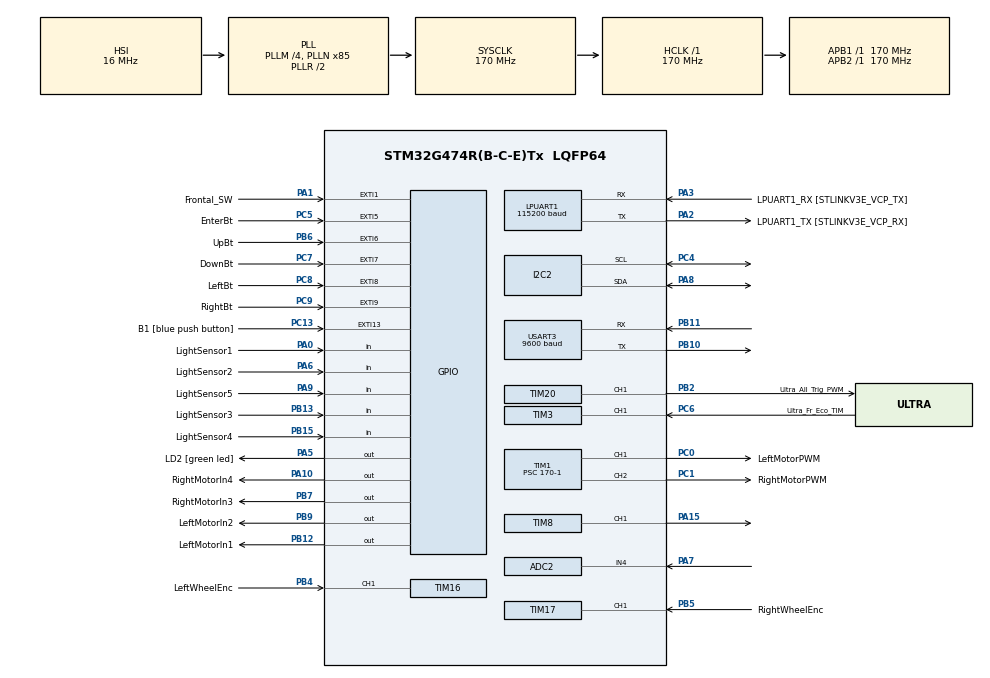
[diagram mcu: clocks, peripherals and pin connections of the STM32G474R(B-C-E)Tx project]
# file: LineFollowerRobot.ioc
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ADC2.Channel-1\#ChannelRegularConversion=ADC_CHANNEL_4
ADC2.ClockPrescaler=ADC_CLOCK_ASYNC_DIV64
ADC2.ContinuousConvMode=ENABLE
ADC2.DMAContinuousRequests=ENABLE
ADC2.LowPowerAutoWait=DISABLE
ADC2.NbrOfConversionFlag=1
ADC2.OffsetNumber-1\#ChannelRegularConversion=ADC_OFFSET_NONE
ADC2.Rank-1\#ChannelRegularConversion=1
ADC2.SamplingTime-1\#ChannelRegularConversion=ADC_SAMPLETIME_2CYCLES_5
Dma.ADC2.0.Direction=DMA_PERIPH_TO_MEMORY
Dma.ADC2.0.EventEnable=DISABLE
Dma.ADC2.0.Instance=DMA1_Channel1
Dma.ADC2.0.MemDataAlignment=DMA_MDATAALIGN_HALFWORD
Dma.ADC2.0.MemInc=DMA_MINC_ENABLE
Dma.ADC2.0.Mode=DMA_CIRCULAR
Dma.ADC2.0.PeriphDataAlignment=DMA_PDATAALIGN_HALFWORD
Dma.ADC2.0.PeriphInc=DMA_PINC_DISABLE
Dma.ADC2.0.Polarity=HAL_DMAMUX_REQ_GEN_RISING
Dma.ADC2.0.Priority=DMA_PRIORITY_LOW
Dma.ADC2.0.RequestNumber=1
Dma.ADC2.0.SignalID=NONE
Dma.ADC2.0.SyncEnable=DISABLE
Dma.ADC2.0.SyncPolarity=HAL_DMAMUX_SYNC_NO_EVENT
Dma.ADC2.0.SyncRequestNumber=1
Dma.ADC2.0.SyncSignalID=NONE
Dma.Request0=ADC2
I2C2.Timing=0x30A0A7FB
LPUART1.BaudRate=115200
LPUART1.WordLength=UART_WORDLENGTH_8B
Mcu.Family=STM32G4
Mcu.Name=STM32G474R(B-C-E)Tx
Mcu.Package=LQFP64
NVIC.ADC1_2_IRQn=true\:0\:0\:false\:false\:true\:true\:true\:true
NVIC.DMA1_Channel1_IRQn=true\:0\:0\:false\:false\:true\:false\:true\:true
NVIC.EXTI15_10_IRQn=true\:0\:0\:false\:false\:true\:true\:true\:true
NVIC.EXTI9_5_IRQn=true\:0\:0\:false\:false\:true\:true\:true\:true
NVIC.I2C2_ER_IRQn=true\:0\:0\:false\:false\:true\:true\:true\:true
NVIC.I2C2_EV_IRQn=true\:0\:0\:false\:false\:true\:true\:true\:true
NVIC.PriorityGroup=NVIC_PRIORITYGROUP_4
NVIC.TIM1_TRG_COM_TIM17_IRQn=true\:0\:0\:false\:false\:true\:true\:true\:true
NVIC.TIM1_UP_TIM16_IRQn=true\:0\:0\:false\:false\:true\:true\:true\:true
NVIC.TIM20_TRG_COM_IRQn=true\:0\:0\:false\:false\:true\:true\:true\:true
NVIC.TIM3_IRQn=true\:0\:0\:false\:false\:true\:true\:true\:true
NVIC.TIM6_DAC_IRQn=true\:0\:0\:false\:false\:true\:true\:true\:true
NVIC.TIM7_DAC_IRQn=true\:0\:0\:false\:false\:true\:true\:true\:true
NVIC.USART3_IRQn=true\:0\:0\:false\:false\:true\:true\:true\:true
PA0.GPIO_Label=LightSensor1
PA0.Signal=GPIO_Input
PA1.GPIO_Label=Frontal_SW
PA1.Signal=GPXTI1
PA10.GPIO_Label=RightMotorIn4
PA10.Signal=GPIO_Output
PA13.GPIO_Label=T_SWDIO
PA13.Mode=Serial_Wire
PA13.Signal=SYS_JTMS-SWDIO
PA14.GPIO_Label=T_SWCLK
PA14.Mode=Serial_Wire
PA14.Signal=SYS_JTCK-SWCLK
PA15.Signal=S_TIM8_CH1
PA2.GPIO_Label=LPUART1_TX [STLINKV3E_VCP_RX]
PA2.Mode=Asynchronous
PA2.Signal=LPUART1_TX
PA3.GPIO_Label=LPUART1_RX [STLINKV3E_VCP_TX]
PA3.Mode=Asynchronous
PA3.Signal=LPUART1_RX
PA5.GPIO_Label=LD2 [green led]
PA5.Signal=GPIO_Output
PA6.GPIO_Label=LightSensor2
PA6.Signal=GPIO_Input
PA7.Mode=IN4-Single-Ended
PA7.Signal=ADC2_IN4
PA8.Mode=I2C
PA8.Signal=I2C2_SDA
PA9.GPIO_Label=LightSensor5
PA9.Signal=GPIO_Input
PB10.Mode=Asynchronous
PB10.Signal=USART3_TX
PB11.Mode=Asynchronous
PB11.Signal=USART3_RX
PB12.GPIO_Label=LeftMotorIn1
PB12.Signal=GPIO_Output
PB13.GPIO_Label=LightSensor3
PB13.Signal=GPIO_Input
PB15.GPIO_Label=LightSensor4
PB15.Signal=GPIO_Input
PB2.GPIO_Label=Ultra_All_Trig_PWM
PB2.Mode=PWM Generation1 CH1
PB2.Signal=TIM20_CH1
PB3.GPIO_Label=T_SWO
PB3.Signal=SYS_JTDO-SWO
PB4.GPIO_Label=LeftWheelEnc
PB4.Signal=S_TIM16_CH1
PB5.GPIO_Label=RightWheelEnc
PB5.Signal=S_TIM17_CH1
PB6.GPIO_Label=UpBt
PB6.Signal=GPXTI6
PB7.GPIO_Label=RightMotorIn3
PB7.Signal=GPIO_Output
PB9.GPIO_Label=LeftMotorIn2
PB9.Signal=GPIO_Output
PC0.GPIO_Label=LeftMotorPWM
PC0.Signal=S_TIM1_CH1
PC1.GPIO_Label=RightMotorPWM
PC1.Signal=S_TIM1_CH2
PC13.GPIO_Label=B1 [blue push button]
PC13.Signal=GPXTI13
PC14-OSC32_IN.Mode=LSE-External-Oscillator
PC14-OSC32_IN.Signal=RCC_OSC32_IN
PC15-OSC32_OUT.Mode=LSE-External-Oscillator
PC15-OSC32_OUT.Signal=RCC_OSC32_OUT
PC4.Mode=I2C
PC4.Signal=I2C2_SCL
PC5.GPIO_Label=EnterBt
PC5.Signal=GPXTI5
PC6.GPIO_Label=Ultra_Fr_Eco_TIM
PC6.Signal=S_TIM3_CH1
PC7.GPIO_Label=DownBt
PC7.Signal=GPXTI7
PC8.GPIO_Label=LeftBt
PC8.Signal=GPXTI8
PC9.GPIO_Label=RightBt
PC9.Signal=GPXTI9
PF0-OSC_IN.Mode=HSE-External-Oscillator
PF0-OSC_IN.Signal=RCC_OSC_IN
PF1-OSC_OUT.Mode=HSE-External-Oscillator
PF1-OSC_OUT.Signal=RCC_OSC_OUT
ProjectManager.HeapSize=0x200
ProjectManager.StackSize=0x400
ProjectManager.TargetToolchain=STM32CubeIDE
RCC.ADC12Freq_Value=170000000
RCC.ADC345Freq_Value=170000000
RCC.AHBFreq_Value=170000000
RCC.APB1Freq_Value=170000000
RCC.APB1TimFreq_Value=170000000
RCC.APB2Freq_Value=170000000
RCC.APB2TimFreq_Value=170000000
RCC.CortexFreq_Value=170000000
RCC.EXTERNAL_CLOCK_VALUE=12288000
RCC.HCLKFreq_Value=170000000
RCC.HSE_VALUE=24000000
RCC.HSI48_VALUE=48000000
RCC.HSI_VALUE=16000000
RCC.PLLM=RCC_PLLM_DIV4
RCC.PLLN=85
RCC.RTCClockSelection=RCC_RTCCLKSOURCE_LSE
RCC.SYSCLKFreq_VALUE=170000000
RCC.SYSCLKSource=RCC_SYSCLKSOURCE_PLLCLK
RCC.USBFreq_Value=170000000
RCC.VCOOutputFreq_Value=340000000
SH.S_TIM16_CH1.0=TIM16_CH1,Input_Capture1_from_TI1
SH.S_TIM17_CH1.0=TIM17_CH1,Input_Capture1_from_TI1
SH.S_TIM1_CH1.0=TIM1_CH1,PWM Generation1 CH1
SH.S_TIM1_CH2.0=TIM1_CH2,PWM Generation2 CH2
SH.S_TIM3_CH1.0=TIM3_CH1,Input_Capture1_from_TI1
SH.S_TIM8_CH1.0=TIM8_CH1,PWM Generation1 CH1
TIM1.Channel-PWM\ Generation1\ CH1=TIM_CHANNEL_1
TIM1.Channel-PWM\ Generation2\ CH2=TIM_CHANNEL_2
TIM1.PeriodNoDither=100-1
TIM1.Prescaler=170-1
TIM16.Channel=TIM_CHANNEL_1
TIM16.Prescaler=170-1
TIM17.AutoReloadPreload=TIM_AUTORELOAD_PRELOAD_DISABLE
TIM17.Channel=TIM_CHANNEL_1
TIM17.ICPolarity_CH1=TIM_INPUTCHANNELPOLARITY_RISING
TIM17.Prescaler=170-1
TIM20.Channel-PWM\ Generation1\ CH1=TIM_CHANNEL_1
TIM20.Prescaler=1700-1
TIM3.Channel-Input_Capture1_from_TI1=TIM_CHANNEL_1
TIM3.ICPolarity_CH1=TIM_INPUTCHANNELPOLARITY_BOTHEDGE
TIM3.Prescaler=170-1
TIM6.PeriodNoDither=10000-1
TIM6.Prescaler=170-1
TIM7.PeriodNoDither=10000-1
TIM7.Prescaler=170-1
TIM8.Channel-PWM\ Generation1\ CH1=TIM_CHANNEL_1
TIM8.PeriodNoDither=10000-1
TIM8.Prescaler=170-1
USART3.BaudRate=9600
USART3.FIFOMode=FIFOMODE_ENABLE
USART3.VirtualMode-Asynchronous=VM_ASYNC
VP_SYS_VS_DBSignals.Mode=DisableDeadBatterySignals
VP_TIM16_VS_ClockSourceINT.Mode=Enable_Timer
VP_TIM17_VS_ClockSourceINT.Mode=Enable_Timer
VP_TIM20_VS_ClockSourceINT.Mode=Internal
VP_TIM3_VS_ClockSourceINT.Mode=Internal
VP_TIM6_VS_ClockSourceINT.Mode=Enable_Timer
VP_TIM7_VS_ClockSourceINT.Mode=Enable_Timer
board=NUCLEO-G474RE

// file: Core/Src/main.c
/* USER CODE BEGIN Header */
/**
  ******************************************************************************
  * @file           : main.c
  * @brief          : Main program body
  ******************************************************************************
  * @attention
  *
  * Copyright (c) 2023 STMicroelectronics.
  * All rights reserved.
  *
  * This software is licensed under terms that can be found in the LICENSE file
  * in the root directory of this software component.
  * If no LICENSE file comes with this software, it is provided AS-IS.
  *
  ******************************************************************************
  */
/* USER CODE END Header */
#include "main.h"
#include "adc.h"
#include "dma.h"
#include "i2c.h"
#include "usart.h"
#include "tim.h"
#include "gpio.h"

/* USER CODE BEGIN Includes */
#include "lcd.h"
#include "battery.h"

/* USER CODE END Includes */

/* USER CODE BEGIN PV */
extern encoderStruct xRightEncoder;
extern encoderStruct xLeftEncoder;
extern buttons xBt;
extern GPIO_PinState SW;
lineSensorsStateStruct xS = {0};
positionStruct xPosition = {0};
extern TIM_HandleTypeDef *pOdometryTIM;
extern TIM_HandleTypeDef *pLineFollowerTIM;
extern int iOdometryClockDivision;
extern TIM_HandleTypeDef *pUltraSonicTriggerCallback;
extern ultraSonicSensorStruct xUltraSonicSensor;
extern unsigned char ucData;
float fdummyData[3] = {0, 0, 0};
unsigned char ucLcdAddress = 0x27;
unsigned char ucLeftMotorState = 0;
unsigned char ucRightMotorState = 0;
float fVelSetPoint = 0.3;
char cUpdateScreen = 0;
float a = -1;
float b = -1;
int catchaD = 0;
int catchaE = 0;
uint16_t usBattery;
extern ADC_HandleTypeDef hadc2;
extern DMA_HandleTypeDef hdma_adc2;
//extern OPAMP_HandleTypeDef hopamp2;
float fVoltage = 0;

/* USER CODE END PV */

void SystemClock_Config(void);

int main(void)
{

  /* MCU Configuration--------------------------------------------------------*/

  /* Reset of all peripherals, Initializes the Flash interface and the Systick. */
  HAL_Init();

  /* Configure the system clock */
  SystemClock_Config();

  /* Initialize all configured peripherals */
  MX_GPIO_Init();
  MX_DMA_Init();
  MX_LPUART1_UART_Init();
  MX_TIM17_Init();
  MX_TIM16_Init();
  MX_TIM1_Init();
  MX_TIM7_Init();
  MX_I2C2_Init();
  MX_TIM6_Init();
  MX_USART3_UART_Init();
  MX_TIM3_Init();
  MX_TIM20_Init();
  MX_TIM8_Init();
  MX_ADC2_Init();
  /* USER CODE BEGIN 2 */
  vInitEncoders(&htim16,&htim17);
  vMotorsInit(&htim1);
  vLineFollowerInit(&htim7);
  vOdometryInit(&htim6, iOdometryClockDivision);
  HAL_UART_Receive_IT(&huart3, (uint8_t*)&ucData, 1);
  pid_init(0.05, 0, 0.001, 0, 1, 0.5);
  pid_init2(0.25, 0, 0, 0, 1, 1);
  vUltrasonicSensorInit(&htim3);
  vLcdInitLcd(&hi2c2,ucLcdAddress);
  vBuzzerConfig(1000, 100, &htim8);
  vBatteryInit(&hadc2);

  /* USER CODE END 2 */

  /* Infinite loop */
  while (1)
  {

    /* USER CODE BEGIN 3 */
	  if(cUpdateScreen){
		  vLcdUpdateScreen(0);
		  cUpdateScreen = 0;

	  }

	  fVoltage= fBatteryGetVoltage();

  }
  /* USER CODE END 3 */
}

void SystemClock_Config(void)
{
  RCC_OscInitTypeDef RCC_OscInitStruct = {0};
  RCC_ClkInitTypeDef RCC_ClkInitStruct = {0};

  /** Configure the main internal regulator output voltage
  */
  HAL_PWREx_ControlVoltageScaling(PWR_REGULATOR_VOLTAGE_SCALE1_BOOST);

  /** Initializes the RCC Oscillators according to the specified parameters
  * in the RCC_OscInitTypeDef structure.
  */
  RCC_OscInitStruct.OscillatorType = RCC_OSCILLATORTYPE_HSI;
  RCC_OscInitStruct.HSIState = RCC_HSI_ON;
  RCC_OscInitStruct.HSICalibrationValue = RCC_HSICALIBRATION_DEFAULT;
  RCC_OscInitStruct.PLL.PLLState = RCC_PLL_ON;
  RCC_OscInitStruct.PLL.PLLSource = RCC_PLLSOURCE_HSI;
  RCC_OscInitStruct.PLL.PLLM = RCC_PLLM_DIV4;
  RCC_OscInitStruct.PLL.PLLN = 85;
  RCC_OscInitStruct.PLL.PLLP = RCC_PLLP_DIV2;
  RCC_OscInitStruct.PLL.PLLQ = RCC_PLLQ_DIV2;
  RCC_OscInitStruct.PLL.PLLR = RCC_PLLR_DIV2;
  if (HAL_RCC_OscConfig(&RCC_OscInitStruct) != HAL_OK)
  {
    Error_Handler();
  }

  /** Initializes the CPU, AHB and APB buses clocks
  */
  RCC_ClkInitStruct.ClockType = RCC_CLOCKTYPE_HCLK|RCC_CLOCKTYPE_SYSCLK
                              |RCC_CLOCKTYPE_PCLK1|RCC_CLOCKTYPE_PCLK2;
  RCC_ClkInitStruct.SYSCLKSource = RCC_SYSCLKSOURCE_PLLCLK;
  RCC_ClkInitStruct.AHBCLKDivider = RCC_SYSCLK_DIV1;
  RCC_ClkInitStruct.APB1CLKDivider = RCC_HCLK_DIV1;
  RCC_ClkInitStruct.APB2CLKDivider = RCC_HCLK_DIV1;

  if (HAL_RCC_ClockConfig(&RCC_ClkInitStruct, FLASH_LATENCY_4) != HAL_OK)
  {
    Error_Handler();
  }
}

/* USER CODE BEGIN 4 */

void HAL_TIM_IC_CaptureCallback(TIM_HandleTypeDef *htim) {
	if(htim == xRightEncoder.htim || htim == xLeftEncoder.htim){
		vEncoderCallback(htim);
	}
	else if(htim == xUltraSonicSensor.htim){
		vUltraSonicSensorCallback(htim);
		if(xUltraSonicSensor.dDistance < 3) {
		  //vBuzzerPlay();
		} else if (xUltraSonicSensor.dDistance < 2) {
			vMotorsStop();
			vBuzzerStop();
		}
	}
}

void HAL_TIM_PeriodElapsedCallback(TIM_HandleTypeDef* htim) {
	if(htim == pLineFollowerTIM) {
		//vLineFollowerTracker(xLineSensorsGetState());
		xS = xLineSensorsGetState();
		if(a == 0) {
			vLineFollowerNewTracker(xS);
		}
		vPIDMotorsOutput();
	} else if(htim == xLeftEncoder.htim || htim == xRightEncoder.htim) {
		vEncoderOverflowCallback(htim);
	} else if(htim == pOdometryTIM) {
		vOdometryUpdateCurrentStatus();
		cUpdateScreen = 1;
	}else if(htim == xUltraSonicSensor.htim) {
		vUltraSonicSensorOverclockCallback(htim);
	}
}

void HAL_GPIO_EXTI_Callback(uint16_t GPIO_Pin) {
	xBt = xReadButtons();
	if(xBt.enterBt) {
		//b = 0;
	} else if(xBt.downBt) {
		vPIDDecreaseKp();
		b = b - 0.1;
	} else if(xBt.upBt) {
		vPIDIncreaseKp();
		a = a+ 0.1;
		b = b + 0.1;
	} else if(xBt.leftBt) {
		vMotorsStop();
	} else if(xBt.rightBt) {
		vMotorsStart();
//		vMotorsRightWheelFoward();
//		vMotorsRightPower(a);
//		vMotorsLeftWheelFoward();
//		vMotorsLeftPower(b);
	}
}

void HAL_UART_RxCpltCallback(UART_HandleTypeDef *huart) {
	if(huart == &huart3) {
		HAL_UART_Receive_IT(huart, (uint8_t*)&ucData, 1);
		vCommunicationStateMachineProcessStateMachine(ucData);
		//HAL_UART_Transmit_IT(huart, &ucData, 1);
	}
}

/* USER CODE END 4 */

void Error_Handler(void)
{
  __disable_irq();
  while (1)
  {
  }
}
